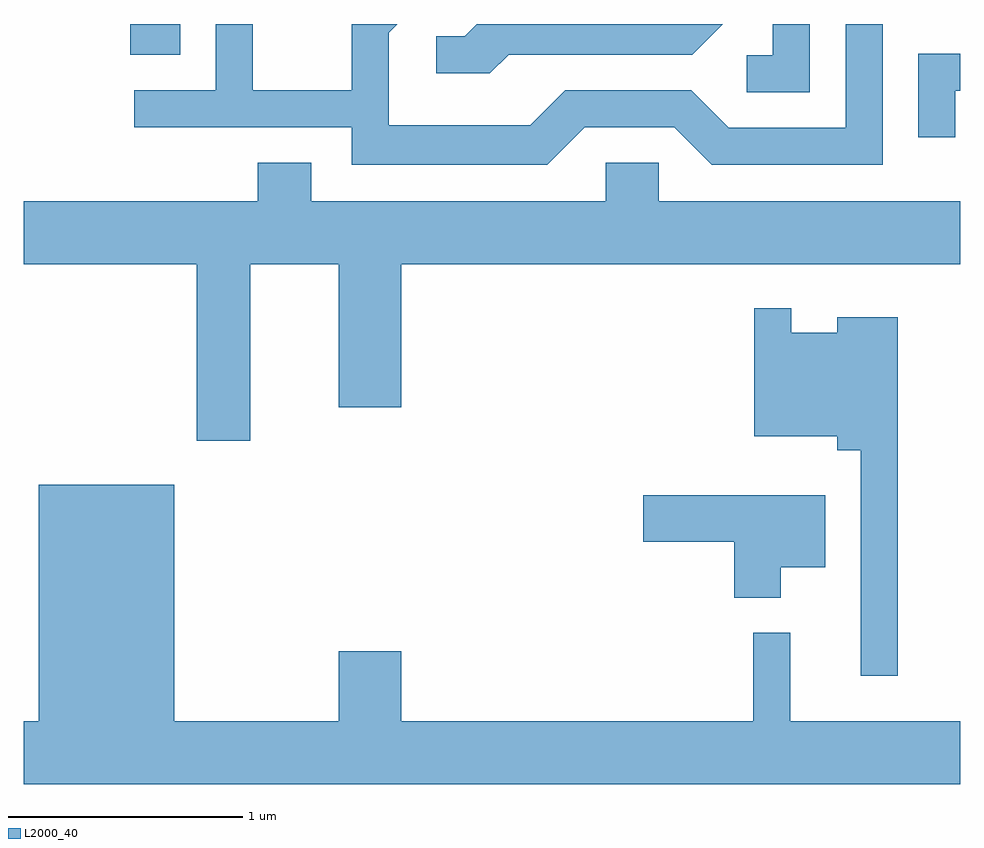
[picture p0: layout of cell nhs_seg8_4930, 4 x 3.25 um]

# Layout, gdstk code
import gdstk
lib = gdstk.Library(unit=1e-6, precision=1e-09)
def R(c, l, rs):  # rectangles x0, y0, x1, y1
    for r in rs: c.add(gdstk.rectangle(r[:2], r[2:], *l))
def P(c, l, *ps):  # polygons
    for p in ps: c.add(gdstk.Polygon(p, *l))
L2000_40 = (2000, 40)

nhs_seg8_4930 = lib.new_cell('nhs_seg8_4930')
R(nhs_seg8_4930, L2000_40, [(334.066,1826.211,334.279,1826.342)])
P(nhs_seg8_4930, L2000_40, [(336.007,1825.901),(336.389,1825.901),(336.549,1825.741),(337.279,1825.741),(337.279,1826.342),(337.121,1826.342),(337.121,1825.899),(336.622,1825.899),(336.462,1826.059),(335.924,1826.059),(335.774,1825.909),(335.169,1825.909),(335.169,1826.304),(335.207,1826.342),(335.011,1826.342),(335.011,1826.059),(334.589,1826.059),(334.589,1826.342),(334.431,1826.342),(334.431,1826.059),(334.083,1826.059),(334.083,1825.901),(335.011,1825.901),(335.011,1825.741),(335.847,1825.741)],
  [(335.682,1826.211),(336.467,1826.211),(336.597,1826.342),(335.546,1826.342),(335.494,1826.289),(335.373,1826.289),(335.373,1826.131),(335.602,1826.131)],
  [(336.969,1826.342),(336.811,1826.342),(336.811,1826.209),(336.698,1826.209),(336.698,1826.051),(336.969,1826.051)],
  [(337.589,1826.056),(337.611,1826.056),(337.611,1826.214),(337.431,1826.214),(337.431,1825.858),(337.589,1825.858)],
  [(334.579,1825.316),(334.956,1825.316),(334.956,1824.706),(335.224,1824.706),(335.224,1825.316),(337.611,1825.316),(337.611,1825.584),(336.324,1825.584),(336.324,1825.749),(336.096,1825.749),(336.096,1825.584),(334.839,1825.584),(334.839,1825.749),(334.611,1825.749),(334.611,1825.584),(333.611,1825.584),(333.611,1825.316),(334.351,1825.316),(334.351,1824.561),(334.579,1824.561)],
  [(337.344,1825.089),(337.086,1825.089),(337.086,1825.024),(336.889,1825.024),(336.889,1825.128),(336.731,1825.128),(336.731,1824.581),(337.086,1824.581),(337.086,1824.521),(337.186,1824.521),(337.186,1823.558),(337.344,1823.558)],
  [(337.611,1823.364),(336.884,1823.364),(336.884,1823.743),(336.726,1823.743),(336.726,1823.364),(335.224,1823.364),(335.224,1823.664),(334.956,1823.664),(334.956,1823.364),(334.254,1823.364),(334.254,1824.374),(333.676,1824.374),(333.676,1823.364),(333.611,1823.364),(333.611,1823.096),(337.611,1823.096)],
  [(336.844,1824.021),(337.034,1824.021),(337.034,1824.329),(336.256,1824.329),(336.256,1824.131),(336.646,1824.131),(336.646,1823.891),(336.844,1823.891)])

lib.write_gds('nhs_seg8_4930.gds')
